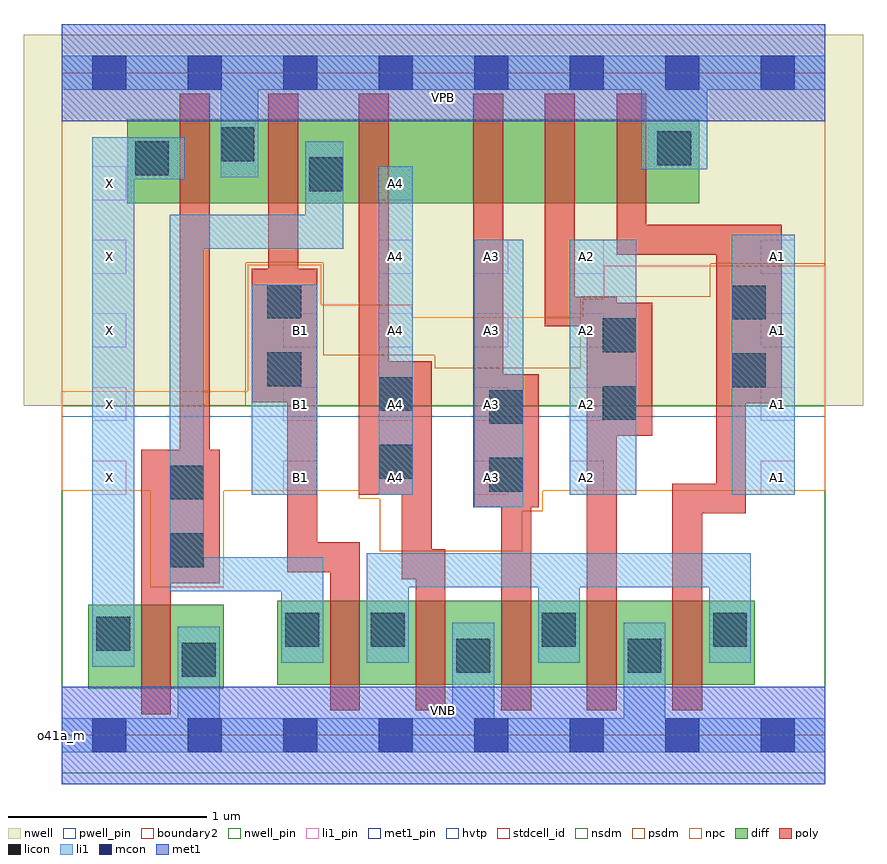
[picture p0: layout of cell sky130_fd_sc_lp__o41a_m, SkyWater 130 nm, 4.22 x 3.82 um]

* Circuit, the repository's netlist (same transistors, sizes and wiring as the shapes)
* Copyright 2020 The SkyWater PDK Authors
*
* Licensed under the Apache License, Version 2.0 (the "License");
* you may not use this file except in compliance with the License.
* You may obtain a copy of the License at
*
*     https://www.apache.org/licenses/LICENSE-2.0
*
* Unless required by applicable law or agreed to in writing, software
* distributed under the License is distributed on an "AS IS" BASIS,
* WITHOUT WARRANTIES OR CONDITIONS OF ANY KIND, either express or implied.
* See the License for the specific language governing permissions and
* limitations under the License.
*
* SPDX-License-Identifier: Apache-2.0

.SUBCKT sky130_fd_sc_lp__o41a_m A1 A2 A3 A4 B1 VGND VNB VPB VPWR X
*.PININFO A1:I A2:I A3:I A4:I B1:I VGND:I VNB:I VPB:I VPWR:I X:O
MMPA0 VPWR A1 sndA1 VPB sky130_fd_pr__pfet_01v8_hvt m=1 w=0.42U l=0.15U mult=1
+ sa=0.265 sb=0.265 sd=0.28 area=0.063 perim=1.14
MMPA1 sndA1 A2 sndA2 VPB sky130_fd_pr__pfet_01v8_hvt m=1 w=0.42U l=0.15U mult=1
+ sa=0.265 sb=0.265 sd=0.28 area=0.063 perim=1.14
MMPA2 sndA2 A3 sndA3 VPB sky130_fd_pr__pfet_01v8_hvt m=1 w=0.42U l=0.15U mult=1
+ sa=0.265 sb=0.265 sd=0.28 area=0.063 perim=1.14
MMPA3 sndA3 A4 y VPB sky130_fd_pr__pfet_01v8_hvt m=1 w=0.42U l=0.15U mult=1 sa=0.265
+ sb=0.265 sd=0.28 area=0.063 perim=1.14
MMPB0 VPWR B1 y VPB sky130_fd_pr__pfet_01v8_hvt m=1 w=0.42U l=0.15U mult=1 sa=0.265
+ sb=0.265 sd=0.28 area=0.063 perim=1.14
MMIPX X y VPWR VPB sky130_fd_pr__pfet_01v8_hvt m=1 w=0.42U l=0.15U mult=1 sa=0.265
+ sb=0.265 sd=0.28 area=0.063 perim=1.14
MMNA0 pndA A1 VGND VNB sky130_fd_pr__nfet_01v8 m=1 w=0.42U l=0.15U mult=1 sa=0.265
+ sb=0.265 sd=0.28 area=0.063 perim=1.14
MMNA1 pndA A2 VGND VNB sky130_fd_pr__nfet_01v8 m=1 w=0.42U l=0.15U mult=1 sa=0.265
+ sb=0.265 sd=0.28 area=0.063 perim=1.14
MMNA2 pndA A3 VGND VNB sky130_fd_pr__nfet_01v8 m=1 w=0.42U l=0.15U mult=1 sa=0.265
+ sb=0.265 sd=0.28 area=0.063 perim=1.14
MMNA3 pndA A4 VGND VNB sky130_fd_pr__nfet_01v8 m=1 w=0.42U l=0.15U mult=1 sa=0.265
+ sb=0.265 sd=0.28 area=0.063 perim=1.14
MMNB0 y B1 pndA VNB sky130_fd_pr__nfet_01v8 m=1 w=0.42U l=0.15U mult=1 sa=0.265
+ sb=0.265 sd=0.28 area=0.063 perim=1.14
MMINX X y VGND VNB sky130_fd_pr__nfet_01v8 m=1 w=0.42U l=0.15U mult=1 sa=0.265
+ sb=0.265 sd=0.28 area=0.063 perim=1.14
.ENDS sky130_fd_sc_lp__o41a_m

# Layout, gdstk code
import gdstk
lib = gdstk.Library(unit=1e-6, precision=1e-09)
def R(c, l, rs):  # rectangles x0, y0, x1, y1
    for r in rs: c.add(gdstk.rectangle(r[:2], r[2:], *l))
def A(c, l, x, y, w, h, nx, ny, dx, dy):  # array of equal rectangles
    R(c, l, [(x+i*dx, y+j*dy, x+i*dx+w, y+j*dy+h) for i in range(nx) for j in range(ny)])
def P(c, l, *ps):  # polygons
    for p in ps: c.add(gdstk.Polygon(p, *l))
nwell_pin = (64, 16)
nwell = (64, 20)
diff = (65, 20)
poly = (66, 20)
licon = (66, 44)
li1_pin = (67, 16)
li1 = (67, 20)
mcon = (67, 44)
met1_pin = (68, 16)
met1 = (68, 20)
hvtp = (78, 44)
stdcell_id = (81, 4)
nsdm = (93, 44)
psdm = (94, 20)
npc = (95, 20)
pwell_pin = (122, 16)
boundary2 = (236, 0)

sky130_fd_sc_lp__o41a_m = lib.new_cell('sky130_fd_sc_lp__o41a_m')
R(sky130_fd_sc_lp__o41a_m, nwell_pin, [(0,3.085,3.84,3.33)])
R(sky130_fd_sc_lp__o41a_m, nwell, [(-0.19,1.655,4.03,3.52)])
R(sky130_fd_sc_lp__o41a_m, diff, [(0.135,0.235,0.815,0.655), (1.085,0.255,3.485,0.675), (0.33,2.675,3.205,3.095)])
P(sky130_fd_sc_lp__o41a_m, poly, [(0.795,1.435),(0.745,1.435),(0.745,3.225),(0.595,3.225),(0.595,1.435),(0.4,1.435),(0.4,0.105),(0.55,0.105),(0.55,0.765),(0.795,0.765)],
  [(1.5,0.97),(1.285,0.97),(1.285,2.345),(1.19,2.345),(1.19,3.225),(1.04,3.225),(1.04,2.345),(0.955,2.345),(0.955,1.675),(1.135,1.675),(1.135,0.82),(1.35,0.82),(1.35,0.125),(1.5,0.125)],
  [(1.93,0.935),(1.86,0.935),(1.86,1.88),(1.645,1.88),(1.645,3.225),(1.495,3.225),(1.495,1.21),(1.71,1.21),(1.71,0.785),(1.78,0.785),(1.78,0.125),(1.93,0.125)],
  [(2.4,1.815),(2.22,1.815),(2.22,3.225),(2.07,3.225),(2.07,1.145),(2.21,1.145),(2.21,0.125),(2.36,0.125),(2.36,1.145),(2.4,1.145)],
  [(2.97,2.175),(2.79,2.175),(2.79,2.205),(2.58,2.205),(2.58,3.225),(2.43,3.225),(2.43,2.055),(2.64,2.055),(2.64,0.125),(2.79,0.125),(2.79,1.505),(2.97,1.505)],
  [(3.62,2.565),(2.94,2.565),(2.94,3.225),(2.79,3.225),(2.79,2.415),(3.29,2.415),(3.29,1.265),(3.07,1.265),(3.07,0.125),(3.22,0.125),(3.22,1.115),(3.44,1.115),(3.44,1.67),(3.62,1.67)])
A(sky130_fd_sc_lp__o41a_m, licon, 1.555, 0.445, 0.17, 0.17, 3, 1, 0.86, 0)
R(sky130_fd_sc_lp__o41a_m, licon, [(0.605,0.295,0.775,0.465), (1.985,0.315,2.155,0.485), (2.845,0.315,3.015,0.485), (0.175,0.425,0.345,0.595), (1.125,0.445,1.295,0.615), (0.545,0.845,0.715,1.015), (0.545,1.185,0.715,1.355), (2.15,1.225,2.32,1.395), (1.595,1.29,1.765,1.46), (2.15,1.565,2.32,1.735), (2.72,1.585,2.89,1.755), (1.595,1.63,1.765,1.8), (3.37,1.75,3.54,1.92), (1.035,1.755,1.205,1.925), (2.72,1.925,2.89,2.095), (3.37,2.09,3.54,2.26), (1.035,2.095,1.205,2.265), (1.245,2.735,1.415,2.905), (0.37,2.815,0.54,2.985), (2.995,2.865,3.165,3.035), (0.8,2.885,0.97,3.055)])
A(sky130_fd_sc_lp__o41a_m, li1_pin, 0.155, 1.21, 0.17, 0.17, 1, 5, 0, 0.37)
A(sky130_fd_sc_lp__o41a_m, li1_pin, 1.115, 1.21, 0.17, 0.17, 4, 3, 0.48, 0.37)
A(sky130_fd_sc_lp__o41a_m, li1_pin, 3.515, 1.21, 0.17, 0.17, 1, 4, 0, 0.37)
A(sky130_fd_sc_lp__o41a_m, li1_pin, 1.595, 2.32, 0.17, 0.17, 3, 1, 0.48, 0)
R(sky130_fd_sc_lp__o41a_m, li1_pin, [(1.595,2.69,1.765,2.86)])
R(sky130_fd_sc_lp__o41a_m, li1, [(2.075,1.145,2.32,2.49), (0.955,1.21,1.285,2.265), (1.595,1.21,1.765,2.86), (2.555,1.21,2.89,2.49), (3.37,1.21,3.685,2.515)])
P(sky130_fd_sc_lp__o41a_m, li1, [(2.915,2.845),(2.915,3.245),(0.99,3.245),(0.99,2.805),(0.8,2.805),(0.8,3.245),(0,3.245),(0,3.415),(3.84,3.415),(3.84,3.245),(3.245,3.245),(3.245,2.845)],
  [(1.965,0.085),(1.965,0.565),(2.175,0.565),(2.175,0.085),(2.825,0.085),(2.825,0.565),(3.035,0.565),(3.035,0.085),(3.84,0.085),(3.84,-0.085),(0,-0.085),(0,0.085),(0.585,0.085),(0.585,0.545),(0.795,0.545),(0.795,0.085)],
  [(3.255,0.365),(3.255,0.745),(2.605,0.745),(2.605,0.365),(2.395,0.365),(2.395,0.745),(1.745,0.745),(1.745,0.365),(1.535,0.365),(1.535,0.915),(3.465,0.915),(3.465,0.365)],
  [(1.225,2.615),(1.225,2.985),(1.415,2.985),(1.415,2.445),(0.715,2.445),(0.715,0.895),(1.315,0.895),(1.315,0.365),(1.105,0.365),(1.105,0.725),(0.545,0.725),(0.545,2.615)],
  [(0.155,0.345),(0.155,3.005),(0.62,3.005),(0.62,2.795),(0.365,2.795),(0.365,0.345)])
A(sky130_fd_sc_lp__o41a_m, mcon, 0.155, -0.085, 0.17, 0.17, 8, 2, 0.48, 3.33)
R(sky130_fd_sc_lp__o41a_m, met1_pin, [(0,0,3.84,0.245), (0,3.085,3.84,3.33)])
R(sky130_fd_sc_lp__o41a_m, met1, [(0,-0.245,3.84,0.245), (0,3.085,3.84,3.575)])
R(sky130_fd_sc_lp__o41a_m, hvtp, [(0,1.6,3.84,3.33)])
R(sky130_fd_sc_lp__o41a_m, stdcell_id, [(0,0,3.84,3.33)])
R(sky130_fd_sc_lp__o41a_m, nsdm, [(0,-0.19,3.84,1.655)])
P(sky130_fd_sc_lp__o41a_m, psdm, [(3.84,3.52),(0,3.52),(0,1.655),(0.925,1.655),(0.925,2.375),(1.315,2.375),(1.315,1.91),(1.875,1.91),(1.875,1.845),(2.61,1.845),(2.61,2.205),(3.26,2.205),(3.26,2.37),(3.84,2.37)])
P(sky130_fd_sc_lp__o41a_m, npc, [(3.84,2.36),(2.725,2.36),(2.725,2.195),(2.62,2.195),(2.62,2.1),(1.76,2.1),(1.76,2.165),(1.305,2.165),(1.305,2.365),(0.935,2.365),(0.935,1.73),(0,1.73),(0,1.23),(0.445,1.23),(0.445,0.745),(0.815,0.745),(0.815,1.23),(1.495,1.23),(1.495,1.19),(1.6,1.19),(1.6,0.925),(2.315,0.925),(2.315,1.125),(2.42,1.125),(2.42,1.23),(3.84,1.23)])
R(sky130_fd_sc_lp__o41a_m, pwell_pin, [(0,0,3.84,0.245)])
R(sky130_fd_sc_lp__o41a_m, boundary2, [(0,0,3.84,3.33)])
sky130_fd_sc_lp__o41a_m.add(gdstk.Label('VNB', (1.92,0.123), layer=64, texttype=59))
sky130_fd_sc_lp__o41a_m.add(gdstk.Label('VPB', (1.92,3.208), layer=64, texttype=5))
sky130_fd_sc_lp__o41a_m.add(gdstk.Label('o41a_m', (0,0), layer=83, texttype=44))
sky130_fd_sc_lp__o41a_m.add(gdstk.Label('VPWR', (1.92,3.208), layer=68, texttype=5))
sky130_fd_sc_lp__o41a_m.add(gdstk.Label('VGND', (1.92,0.123), layer=68, texttype=5))
sky130_fd_sc_lp__o41a_m.add(gdstk.Label('A2', (2.64,1.295), layer=67, texttype=5))
sky130_fd_sc_lp__o41a_m.add(gdstk.Label('A2', (2.64,1.665), layer=67, texttype=5))
sky130_fd_sc_lp__o41a_m.add(gdstk.Label('A2', (2.64,2.035), layer=67, texttype=5))
sky130_fd_sc_lp__o41a_m.add(gdstk.Label('A2', (2.64,2.405), layer=67, texttype=5))
sky130_fd_sc_lp__o41a_m.add(gdstk.Label('A3', (2.16,1.295), layer=67, texttype=5))
sky130_fd_sc_lp__o41a_m.add(gdstk.Label('A3', (2.16,1.665), layer=67, texttype=5))
sky130_fd_sc_lp__o41a_m.add(gdstk.Label('A3', (2.16,2.035), layer=67, texttype=5))
sky130_fd_sc_lp__o41a_m.add(gdstk.Label('A3', (2.16,2.405), layer=67, texttype=5))
sky130_fd_sc_lp__o41a_m.add(gdstk.Label('A4', (1.68,1.295), layer=67, texttype=5))
sky130_fd_sc_lp__o41a_m.add(gdstk.Label('A4', (1.68,1.665), layer=67, texttype=5))
sky130_fd_sc_lp__o41a_m.add(gdstk.Label('A4', (1.68,2.035), layer=67, texttype=5))
sky130_fd_sc_lp__o41a_m.add(gdstk.Label('A4', (1.68,2.405), layer=67, texttype=5))
sky130_fd_sc_lp__o41a_m.add(gdstk.Label('A4', (1.68,2.775), layer=67, texttype=5))
sky130_fd_sc_lp__o41a_m.add(gdstk.Label('A1', (3.6,1.295), layer=67, texttype=5))
sky130_fd_sc_lp__o41a_m.add(gdstk.Label('A1', (3.6,1.665), layer=67, texttype=5))
sky130_fd_sc_lp__o41a_m.add(gdstk.Label('A1', (3.6,2.035), layer=67, texttype=5))
sky130_fd_sc_lp__o41a_m.add(gdstk.Label('A1', (3.6,2.405), layer=67, texttype=5))
sky130_fd_sc_lp__o41a_m.add(gdstk.Label('B1', (1.2,1.295), layer=67, texttype=5))
sky130_fd_sc_lp__o41a_m.add(gdstk.Label('B1', (1.2,1.665), layer=67, texttype=5))
sky130_fd_sc_lp__o41a_m.add(gdstk.Label('B1', (1.2,2.035), layer=67, texttype=5))
sky130_fd_sc_lp__o41a_m.add(gdstk.Label('X', (0.24,1.295), layer=67, texttype=5))
sky130_fd_sc_lp__o41a_m.add(gdstk.Label('X', (0.24,1.665), layer=67, texttype=5))
sky130_fd_sc_lp__o41a_m.add(gdstk.Label('X', (0.24,2.035), layer=67, texttype=5))
sky130_fd_sc_lp__o41a_m.add(gdstk.Label('X', (0.24,2.405), layer=67, texttype=5))
sky130_fd_sc_lp__o41a_m.add(gdstk.Label('X', (0.24,2.775), layer=67, texttype=5))

lib.write_gds('sky130_fd_sc_lp__o41a_m.gds')
